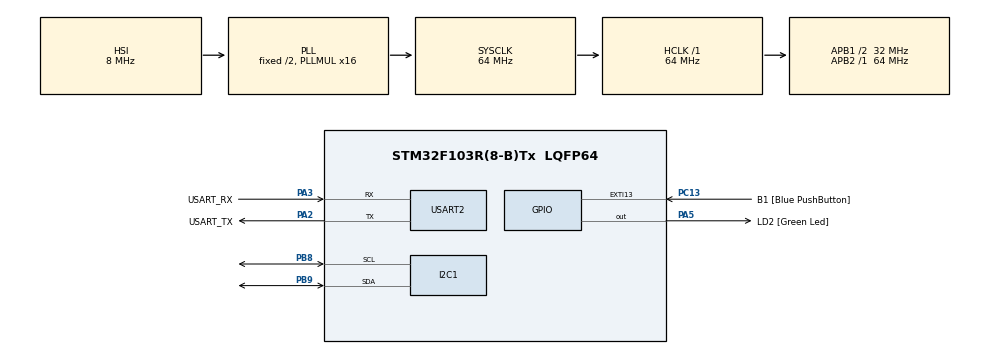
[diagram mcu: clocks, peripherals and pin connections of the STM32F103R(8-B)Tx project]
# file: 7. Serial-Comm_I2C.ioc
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Mcu.Family=STM32F1
Mcu.Name=STM32F103R(8-B)Tx
Mcu.Package=LQFP64
NVIC.EXTI15_10_IRQn=true\:0\:0\:false\:false\:true\:true\:true\:true
NVIC.PriorityGroup=NVIC_PRIORITYGROUP_4
PA13.GPIO_Label=TMS
PA13.Mode=Serial_Wire
PA13.Signal=SYS_JTMS-SWDIO
PA14.GPIO_Label=TCK
PA14.Mode=Serial_Wire
PA14.Signal=SYS_JTCK-SWCLK
PA2.GPIO_Label=USART_TX
PA2.GPIO_Mode=GPIO_MODE_AF_PP
PA2.GPIO_PuPd=GPIO_NOPULL
PA2.GPIO_Speed=GPIO_SPEED_FREQ_LOW
PA2.Mode=Asynchronous
PA2.Signal=USART2_TX
PA3.GPIO_Label=USART_RX
PA3.GPIO_Mode=GPIO_MODE_AF_PP
PA3.GPIO_PuPd=GPIO_NOPULL
PA3.GPIO_Speed=GPIO_SPEED_FREQ_LOW
PA3.Mode=Asynchronous
PA3.Signal=USART2_RX
PA5.GPIO_Label=LD2 [Green Led]
PA5.GPIO_ModeDefaultOutputPP=GPIO_MODE_OUTPUT_PP
PA5.GPIO_PuPd=GPIO_NOPULL
PA5.GPIO_Speed=GPIO_SPEED_FREQ_LOW
PA5.Signal=GPIO_Output
PB3.GPIO_Label=SWO
PB3.Signal=SYS_JTDO-TRACESWO
PB8.Mode=I2C
PB8.Signal=I2C1_SCL
PB9.Mode=I2C
PB9.Signal=I2C1_SDA
PC13-TAMPER-RTC.GPIO_Label=B1 [Blue PushButton]
PC13-TAMPER-RTC.GPIO_PuPd=GPIO_NOPULL
PC13-TAMPER-RTC.Signal=GPXTI13
PC14-OSC32_IN.Signal=RCC_OSC32_IN
PC15-OSC32_OUT.Signal=RCC_OSC32_OUT
PD0-OSC_IN.Signal=RCC_OSC_IN
PD1-OSC_OUT.Signal=RCC_OSC_OUT
ProjectManager.HeapSize=0x200
ProjectManager.StackSize=0x400
ProjectManager.TargetToolchain=STM32CubeIDE
RCC.AHBFreq_Value=64000000
RCC.APB1CLKDivider=RCC_HCLK_DIV2
RCC.APB1Freq_Value=32000000
RCC.APB1TimFreq_Value=64000000
RCC.APB2Freq_Value=64000000
RCC.APB2TimFreq_Value=64000000
RCC.HCLKFreq_Value=64000000
RCC.PLLMUL=RCC_PLL_MUL16
RCC.RTCClockSelection=RCC_RTCCLKSOURCE_LSE
RCC.SYSCLKFreq_VALUE=64000000
RCC.SYSCLKSource=RCC_SYSCLKSOURCE_PLLCLK
RCC.USBFreq_Value=64000000
USART2.VirtualMode=VM_ASYNC
board=NUCLEO-F103RB

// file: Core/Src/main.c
/* USER CODE BEGIN Header */
/**
  ******************************************************************************
  * @file           : main.c
  * @brief          : Main program body
  ******************************************************************************
  * @attention
  *
  * Copyright (c) 2025 STMicroelectronics.
  * All rights reserved.
  *
  * This software is licensed under terms that can be found in the LICENSE file
  * in the root directory of this software component.
  * If no LICENSE file comes with this software, it is provided AS-IS.
  *
  ******************************************************************************
  */
/* USER CODE END Header */
#include "main.h"

/* USER CODE BEGIN Includes */
#include <stdio.h>
/* USER CODE END Includes */

/* USER CODE BEGIN PD */

#define MPU6050_ADDR 0xD0 //0x68 << 1

/* USER CODE END PD */

I2C_HandleTypeDef hi2c1;

UART_HandleTypeDef huart2;

void SystemClock_Config(void);
static void MX_GPIO_Init(void);
static void MX_USART2_UART_Init(void);
static void MX_I2C1_Init(void);

/* USER CODE BEGIN 0 */
#ifdef __GNUC__
#define PUTCHAR_PROTOTYPE int __io_putchar(int ch)
#else
#define PUTCHAR_PROTOTYPE int fputc(int ch, FILE *f)
#endif

PUTCHAR_PROTOTYPE
{
	if (ch == '\n')
		HAL_UART_Transmit(&huart2, (uint8_t*) "\r", 1, 0xFFFF);
	HAL_UART_Transmit(&huart2, (uint8_t*) &ch, 1, 0xFFFF);

	return ch;
}

void MPU6050_Init(void);
void MPU6050_ReadData(int16_t* accel_data, int16_t* gyro_data);

/* USER CODE END 0 */

int main(void)
{

  /* MCU Configuration--------------------------------------------------------*/

  /* Reset of all peripherals, Initializes the Flash interface and the Systick. */
  HAL_Init();

  /* Configure the system clock */
  SystemClock_Config();

  /* Initialize all configured peripherals */
  MX_GPIO_Init();
  MX_USART2_UART_Init();
  MX_I2C1_Init();
  /* USER CODE BEGIN 2 */

  MPU6050_Init();

  int16_t accel[3], gyro[3];
  float f_accel[3], f_gyro[3];

  /* USER CODE END 2 */

  /* Infinite loop */
  while (1)
  {

    /* USER CODE BEGIN 3 */
	  MPU6050_ReadData(accel, gyro);

	  for(int i = 0; i < 3; i++) {
		  f_accel[i] = (float)accel[i] / 16384.0f;
		  f_gyro[i]  = (float)gyro[i]  / 131.0f;
	  }

	  printf("Accel: %f, %f, %f\n", f_accel[0], f_accel[1], f_accel[2]);
	  printf("Gyro : %f, %f, %f\n\n", f_gyro[0], f_gyro[1], f_gyro[2]);

	  HAL_Delay(500);
  }
  /* USER CODE END 3 */
}

void SystemClock_Config(void)
{
  RCC_OscInitTypeDef RCC_OscInitStruct = {0};
  RCC_ClkInitTypeDef RCC_ClkInitStruct = {0};

  /** Initializes the RCC Oscillators according to the specified parameters
  * in the RCC_OscInitTypeDef structure.
  */
  RCC_OscInitStruct.OscillatorType = RCC_OSCILLATORTYPE_HSI;
  RCC_OscInitStruct.HSIState = RCC_HSI_ON;
  RCC_OscInitStruct.HSICalibrationValue = RCC_HSICALIBRATION_DEFAULT;
  RCC_OscInitStruct.PLL.PLLState = RCC_PLL_ON;
  RCC_OscInitStruct.PLL.PLLSource = RCC_PLLSOURCE_HSI_DIV2;
  RCC_OscInitStruct.PLL.PLLMUL = RCC_PLL_MUL16;
  if (HAL_RCC_OscConfig(&RCC_OscInitStruct) != HAL_OK)
  {
    Error_Handler();
  }

  /** Initializes the CPU, AHB and APB buses clocks
  */
  RCC_ClkInitStruct.ClockType = RCC_CLOCKTYPE_HCLK|RCC_CLOCKTYPE_SYSCLK
                              |RCC_CLOCKTYPE_PCLK1|RCC_CLOCKTYPE_PCLK2;
  RCC_ClkInitStruct.SYSCLKSource = RCC_SYSCLKSOURCE_PLLCLK;
  RCC_ClkInitStruct.AHBCLKDivider = RCC_SYSCLK_DIV1;
  RCC_ClkInitStruct.APB1CLKDivider = RCC_HCLK_DIV2;
  RCC_ClkInitStruct.APB2CLKDivider = RCC_HCLK_DIV1;

  if (HAL_RCC_ClockConfig(&RCC_ClkInitStruct, FLASH_LATENCY_2) != HAL_OK)
  {
    Error_Handler();
  }
}

static void MX_I2C1_Init(void)
{

  hi2c1.Instance = I2C1;
  hi2c1.Init.ClockSpeed = 100000;
  hi2c1.Init.DutyCycle = I2C_DUTYCYCLE_2;
  hi2c1.Init.OwnAddress1 = 0;
  hi2c1.Init.AddressingMode = I2C_ADDRESSINGMODE_7BIT;
  hi2c1.Init.DualAddressMode = I2C_DUALADDRESS_DISABLE;
  hi2c1.Init.OwnAddress2 = 0;
  hi2c1.Init.GeneralCallMode = I2C_GENERALCALL_DISABLE;
  hi2c1.Init.NoStretchMode = I2C_NOSTRETCH_DISABLE;
  if (HAL_I2C_Init(&hi2c1) != HAL_OK)
  {
    Error_Handler();
  }

}

static void MX_USART2_UART_Init(void)
{

  huart2.Instance = USART2;
  huart2.Init.BaudRate = 115200;
  huart2.Init.WordLength = UART_WORDLENGTH_8B;
  huart2.Init.StopBits = UART_STOPBITS_1;
  huart2.Init.Parity = UART_PARITY_NONE;
  huart2.Init.Mode = UART_MODE_TX_RX;
  huart2.Init.HwFlowCtl = UART_HWCONTROL_NONE;
  huart2.Init.OverSampling = UART_OVERSAMPLING_16;
  if (HAL_UART_Init(&huart2) != HAL_OK)
  {
    Error_Handler();
  }

}

static void MX_GPIO_Init(void)
{
  GPIO_InitTypeDef GPIO_InitStruct = {0};

  /* GPIO Ports Clock Enable */
  __HAL_RCC_GPIOC_CLK_ENABLE();
  __HAL_RCC_GPIOD_CLK_ENABLE();
  __HAL_RCC_GPIOA_CLK_ENABLE();
  __HAL_RCC_GPIOB_CLK_ENABLE();

  /*Configure GPIO pin Output Level */
  HAL_GPIO_WritePin(LD2_GPIO_Port, LD2_Pin, GPIO_PIN_RESET);

  /*Configure GPIO pin : B1_Pin */
  GPIO_InitStruct.Pin = B1_Pin;
  GPIO_InitStruct.Mode = GPIO_MODE_IT_RISING;
  GPIO_InitStruct.Pull = GPIO_NOPULL;
  HAL_GPIO_Init(B1_GPIO_Port, &GPIO_InitStruct);

  /*Configure GPIO pin : LD2_Pin */
  GPIO_InitStruct.Pin = LD2_Pin;
  GPIO_InitStruct.Mode = GPIO_MODE_OUTPUT_PP;
  GPIO_InitStruct.Pull = GPIO_NOPULL;
  GPIO_InitStruct.Speed = GPIO_SPEED_FREQ_LOW;
  HAL_GPIO_Init(LD2_GPIO_Port, &GPIO_InitStruct);

  /* EXTI interrupt init*/
  HAL_NVIC_SetPriority(EXTI15_10_IRQn, 0, 0);
  HAL_NVIC_EnableIRQ(EXTI15_10_IRQn);

}

/* USER CODE BEGIN 4 */

void MPU6050_Init(void) {
    uint8_t data[2];

    data[0] = 0x6B;
    data[1] = 0x00;
    HAL_I2C_Mem_Write(&hi2c1, MPU6050_ADDR, data[0], 1, &data[1], 1, 100);

    data[0] = 0x1C;
    data[1] = 0x00;
    HAL_I2C_Mem_Write(&hi2c1, MPU6050_ADDR, data[0], 1, &data[1], 1, 100);

    data[0] = 0x19;
    data[1] = 0x07;
    HAL_I2C_Mem_Write(&hi2c1, MPU6050_ADDR, data[0], 1, &data[1], 1, 100);
}

void MPU6050_ReadData(int16_t* accel_data, int16_t* gyro_data) {
    uint8_t data[14];

    HAL_I2C_Mem_Read(&hi2c1, MPU6050_ADDR, 0x3B, 1, data, 14, 100);

    accel_data[0] = (int16_t)((data[0] << 8) | data[1]);
    accel_data[1] = (int16_t)((data[2] << 8) | data[3]);
    accel_data[2] = (int16_t)((data[4] << 8) | data[5]);

    gyro_data[0] = (int16_t)((data[8] << 8) | data[9]);
    gyro_data[1] = (int16_t)((data[10] << 8) | data[11]);
    gyro_data[2] = (int16_t)((data[12] << 8) | data[13]);
}

/* USER CODE END 4 */

void Error_Handler(void)
{
  __disable_irq();
  while (1)
  {
  }
}
